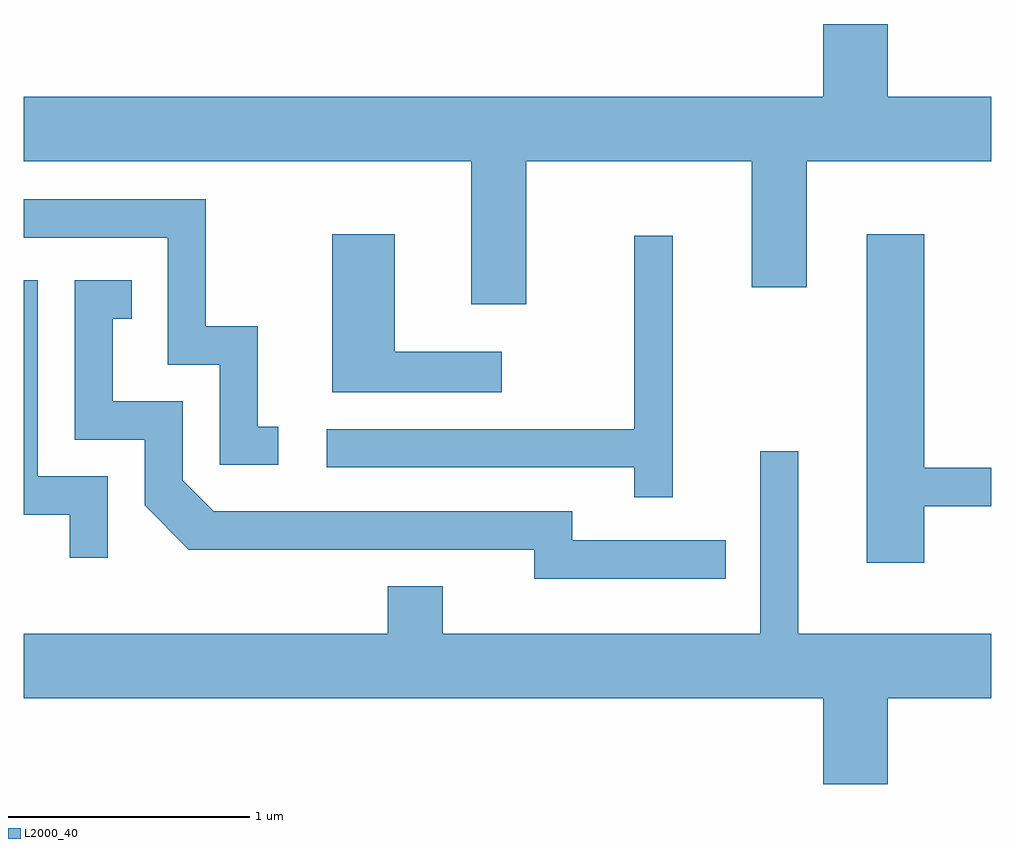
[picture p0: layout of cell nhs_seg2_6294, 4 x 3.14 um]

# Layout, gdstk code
import gdstk
lib = gdstk.Library(unit=1e-6, precision=1e-09)
def P(c, l, *ps):  # polygons
    for p in ps: c.add(gdstk.Polygon(p, *l))
L2000_40 = (2000, 40)

nhs_seg2_6294 = lib.new_cell('nhs_seg2_6294')
P(nhs_seg2_6294, L2000_40, [(373.689,988.376),(374.621,988.376),(374.621,987.856),(374.849,987.856),(374.849,988.376),(375.611,988.376),(375.611,988.644),(375.184,988.644),(375.184,988.944),(374.916,988.944),(374.916,988.644),(371.611,988.644),(371.611,988.376),(373.461,988.376),(373.461,987.786),(373.689,987.786)],
  [(372.663,987.279),(372.579,987.279),(372.579,987.694),(372.364,987.694),(372.364,988.219),(371.611,988.219),(371.611,988.061),(372.206,988.061),(372.206,987.536),(372.421,987.536),(372.421,987.121),(372.663,987.121)],
  [(375.334,986.951),(375.611,986.951),(375.611,987.109),(375.334,987.109),(375.334,988.074),(375.096,988.074),(375.096,986.716),(375.334,986.716)],
  [(373.588,987.589),(373.144,987.589),(373.144,988.074),(372.886,988.074),(372.886,987.421),(373.588,987.421)],
  [(374.294,988.068),(374.136,988.068),(374.136,987.269),(372.863,987.269),(372.863,987.111),(374.136,987.111),(374.136,986.988),(374.294,986.988)],
  [(374.513,986.809),(373.879,986.809),(373.879,986.929),(372.397,986.929),(372.269,987.057),(372.269,987.384),(371.979,987.384),(371.979,987.726),(372.058,987.726),(372.058,987.884),(371.821,987.884),(371.821,987.226),(372.111,987.226),(372.111,986.954),(372.294,986.771),(373.721,986.771),(373.721,986.651),(374.513,986.651)],
  [(371.959,987.074),(371.669,987.074),(371.669,987.884),(371.611,987.884),(371.611,986.916),(371.801,986.916),(371.801,986.738),(371.959,986.738)],
  [(375.184,986.156),(375.611,986.156),(375.611,986.424),(374.814,986.424),(374.814,987.178),(374.656,987.178),(374.656,986.424),(373.344,986.424),(373.344,986.619),(373.116,986.619),(373.116,986.424),(371.611,986.424),(371.611,986.156),(374.916,986.156),(374.916,985.802),(375.184,985.802)])

lib.write_gds('nhs_seg2_6294.gds')
